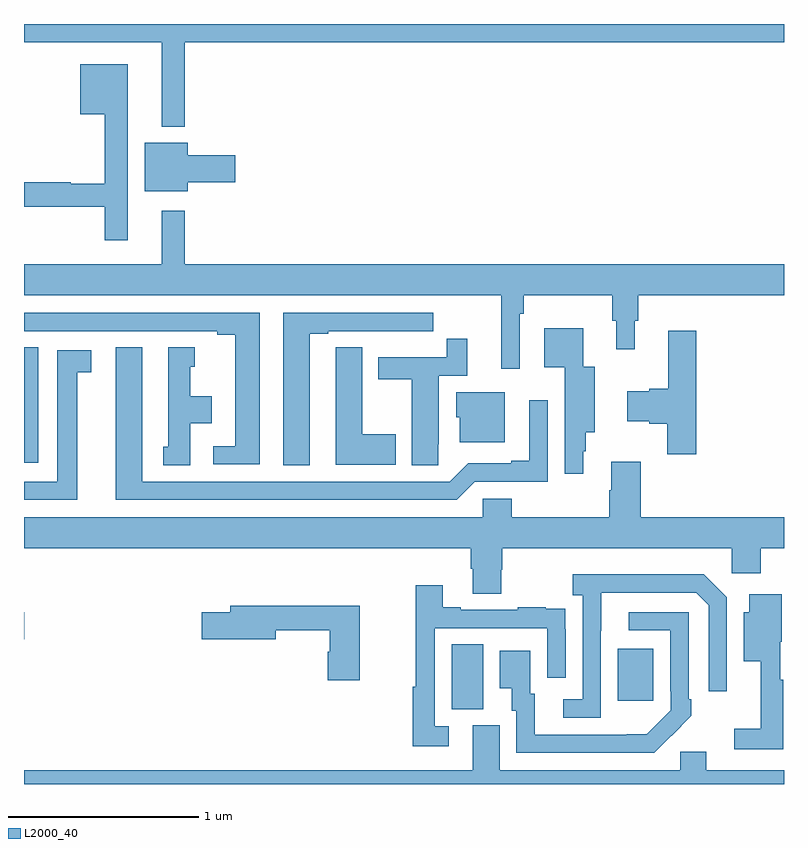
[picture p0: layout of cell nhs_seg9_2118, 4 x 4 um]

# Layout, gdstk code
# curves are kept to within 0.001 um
import gdstk
lib = gdstk.Library(unit=1e-6, precision=1e-09)
def R(c, l, rs):  # rectangles x0, y0, x1, y1
    for r in rs: c.add(gdstk.rectangle(r[:2], r[2:], *l))
def P(c, l, *ps):  # polygons
    for p in ps: c.add(gdstk.Polygon(p, *l))
L2000_40 = (2000, 40)

nhs_seg9_2118 = lib.new_cell('nhs_seg9_2118')
R(nhs_seg9_2118, L2000_40, [(233.252,1208.893,233.416,1209.236), (234.125,1208.937,234.313,1209.211), (231,1209.263,231.001,1209.405), (231,1210.191,231.076,1210.799)])
P(nhs_seg9_2118, L2000_40, [(235,1212.5),(231,1212.5),(231,1212.404),(231.725,1212.404),(231.725,1211.96),(231.847,1211.96),(231.847,1212.404),(235,1212.404)],
  [(231.547,1212.289),(231.296,1212.289),(231.296,1212.026),(231.426,1212.026),(231.426,1211.659),(231.247,1211.659),(231.247,1211.666),(231,1211.666),(231,1211.538),(231.426,1211.538),(231.426,1211.361),(231.547,1211.361)],
  [(231.862,1211.668),(232.111,1211.668),(232.111,1211.81),(231.862,1211.81),(231.862,1211.875),(231.635,1211.875),(231.635,1211.621),(231.862,1211.621)],
  [(233.61,1210.976),(233.63,1210.976),(233.63,1211.072),(234.097,1211.072),(234.097,1210.938),(234.116,1210.938),(234.116,1210.788),(234.214,1210.788),(234.214,1210.938),(234.233,1210.938),(234.233,1211.072),(235,1211.072),(235,1211.236),(231.847,1211.236),(231.847,1211.518),(231.725,1211.518),(231.725,1211.236),(231,1211.236),(231,1211.072),(233.513,1211.072),(233.513,1210.686),(233.61,1210.686)],
  [(232.24,1210.98),(231,1210.98),(231,1210.884),(232.016,1210.884),(232.016,1210.864),(232.112,1210.864),(232.112,1210.278),(231.996,1210.278),(231.996,1210.182),(232.24,1210.182)],
  [(232.504,1210.869),(232.6,1210.869),(232.6,1210.884),(232.876,1210.884),(232.876,1210.883),(233.042,1210.883),(233.042,1210.884),(233.155,1210.884),(233.155,1210.98),(232.364,1210.98),(232.364,1210.177),(232.504,1210.177)],
  [(233.944,1210.251),(233.956,1210.251),(233.956,1210.352),(234.004,1210.352),(234.004,1210.696),(233.944,1210.696),(233.944,1210.9),(233.738,1210.9),(233.738,1210.694),(233.846,1210.694),(233.846,1210.456),(233.847,1210.456),(233.847,1210.134),(233.944,1210.134)],
  [(234.539,1210.885),(234.392,1210.885),(234.392,1210.58),(234.291,1210.58),(234.291,1210.567),(234.174,1210.567),(234.174,1210.409),(234.291,1210.409),(234.291,1210.397),(234.385,1210.397),(234.385,1210.236),(234.539,1210.236)],
  [(233.181,1210.288),(233.182,1210.288),(233.182,1210.65),(233.333,1210.65),(233.333,1210.843),(233.224,1210.843),(233.224,1210.746),(232.865,1210.746),(232.865,1210.63),(233.042,1210.63),(233.042,1210.177),(233.181,1210.177)],
  [(232.957,1210.341),(232.78,1210.341),(232.78,1210.799),(232.641,1210.799),(232.641,1210.691),(232.64,1210.691),(232.64,1210.181),(232.957,1210.181)],
  [(233.373,1210.092),(233.757,1210.092),(233.757,1210.519),(233.66,1210.519),(233.66,1210.201),(233.564,1210.201),(233.564,1210.188),(233.337,1210.188),(233.241,1210.092),(231.622,1210.092),(231.622,1210.798),(231.482,1210.798),(231.482,1209.996),(233.277,1209.996)],
  [(231.874,1210.4),(231.988,1210.4),(231.988,1210.54),(231.874,1210.54),(231.874,1210.695),(231.898,1210.695),(231.898,1210.798),(231.758,1210.798),(231.758,1210.275),(231.734,1210.275),(231.734,1210.177),(231.874,1210.177)],
  [(231.28,1210.666),(231.355,1210.666),(231.355,1210.782),(231.176,1210.782),(231.176,1210.092),(231,1210.092),(231,1209.996),(231.28,1209.996)],
  [(233.53,1210.561),(233.276,1210.561),(233.276,1210.431),(233.294,1210.431),(233.294,1210.298),(233.53,1210.298)],
  [(234.245,1210.195),(234.092,1210.195),(234.092,1210.046),(234.08,1210.046),(234.08,1209.904),(233.567,1209.904),(233.567,1210.002),(233.415,1210.002),(233.415,1209.904),(231,1209.904),(231,1209.74),(233.351,1209.74),(233.351,1209.634),(233.363,1209.634),(233.363,1209.502),(233.511,1209.502),(233.511,1209.627),(233.516,1209.627),(233.516,1209.74),(234.726,1209.74),(234.726,1209.609),(234.878,1209.609),(234.878,1209.74),(235,1209.74),(235,1209.904),(234.245,1209.904)],
  [(234.036,1209.307),(234.037,1209.507),(234.537,1209.507),(234.603,1209.441),(234.603,1208.988),(234.699,1208.988),(234.699,1209.483),(234.578,1209.604),(233.889,1209.604),(233.889,1209.494),(233.94,1209.494),(233.94,1208.946),(233.838,1208.946),(233.838,1208.85),(234.036,1208.85)],
  [(233.236,1208.805),(233.163,1208.805),(233.163,1209.321),(233.754,1209.321),(233.754,1209.06),(233.85,1209.06),(233.85,1209.314),(233.849,1209.314),(233.849,1209.423),(233.747,1209.423),(233.747,1209.43),(233.599,1209.43),(233.599,1209.417),(233.299,1209.417),(233.299,1209.43),(233.203,1209.43),(233.203,1209.547),(233.062,1209.547),(233.062,1209.012),(233.047,1209.012),(233.047,1208.7),(233.236,1208.7)],
  [(234.995,1209.05),(234.98,1209.05),(234.98,1209.25),(234.989,1209.25),(234.989,1209.499),(234.818,1209.499),(234.818,1209.403),(234.788,1209.403),(234.788,1209.146),(234.878,1209.146),(234.878,1208.791),(234.738,1208.791),(234.738,1208.682),(234.995,1208.682)],
  [(232.768,1209.439),(232.085,1209.439),(232.085,1209.405),(231.936,1209.405),(231.936,1209.263),(232.324,1209.263),(232.324,1209.31),(232.61,1209.31),(232.61,1209.195),(232.598,1209.195),(232.598,1209.045),(232.768,1209.045)],
  [(234.407,1208.755),(234.408,1208.754),(234.513,1208.859),(234.513,1208.947),(234.498,1208.947),(234.498,1209.405),(234.183,1209.405),(234.183,1209.309),(234.402,1209.309),(234.402,1208.989),(234.405,1208.989),(234.405,1208.889),(234.277,1208.761),(233.689,1208.76),(233.689,1208.976),(233.665,1208.976),(233.665,1209.202),(233.504,1209.202),(233.504,1209.005),(233.567,1209.005),(233.567,1208.886),(233.592,1208.886),(233.592,1208.664),(234.316,1208.664)],
  [(235,1208.572),(234.592,1208.572),(234.592,1208.67),(234.453,1208.67),(234.453,1208.572),(233.503,1208.572),(233.503,1208.808),(233.363,1208.808),(233.363,1208.572),(231,1208.572),(231,1208.5),(235,1208.5)])

lib.write_gds('nhs_seg9_2118.gds')
